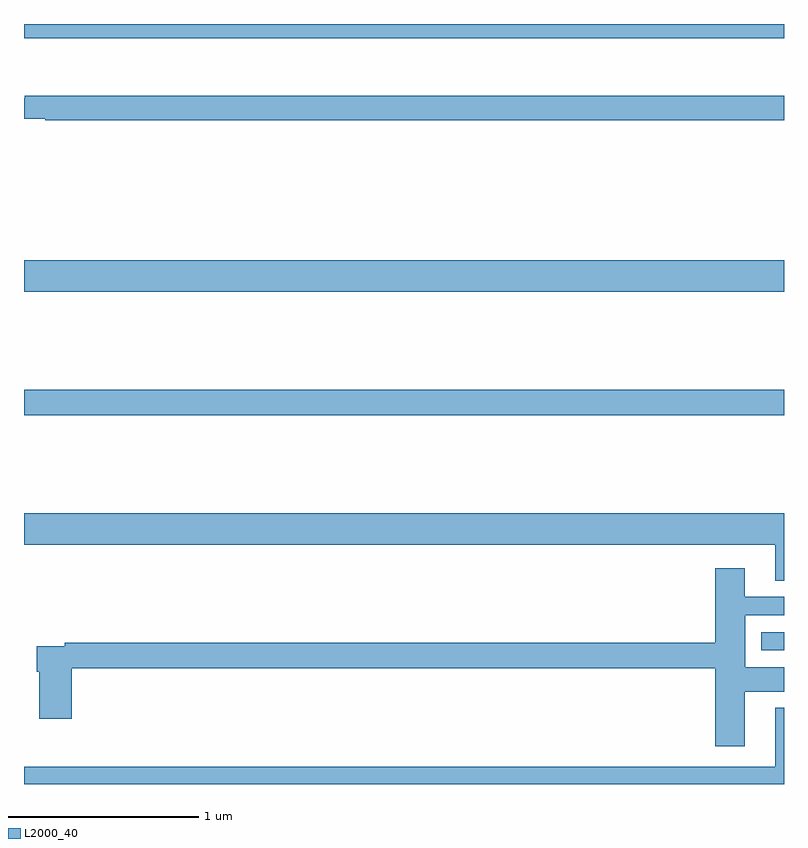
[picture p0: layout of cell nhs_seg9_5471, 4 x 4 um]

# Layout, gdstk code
import gdstk
lib = gdstk.Library(unit=1e-6, precision=1e-09)
def R(c, l, rs):  # rectangles x0, y0, x1, y1
    for r in rs: c.add(gdstk.rectangle(r[:2], r[2:], *l))
def P(c, l, *ps):  # polygons
    for p in ps: c.add(gdstk.Polygon(p, *l))
L2000_40 = (2000, 40)

nhs_seg9_5471 = lib.new_cell('nhs_seg9_5471')
R(nhs_seg9_5471, L2000_40, [(432.881,1189.203,433,1189.299), (429,1190.44,433,1190.576), (429,1191.092,433,1191.256), (429,1192.424,433,1192.5)])
P(nhs_seg9_5471, L2000_40, [(433,1192.123),(429.004,1192.123),(429.004,1192.11),(429,1192.11),(429,1192.002),(429.112,1192.002),(429.112,1191.994),(433,1191.994)],
  [(433,1189.924),(429,1189.924),(429,1189.76),(432.953,1189.76),(432.953,1189.57),(433,1189.57)],
  [(432.793,1188.986),(433,1188.986),(433,1189.114),(432.796,1189.114),(432.796,1189.389),(433,1189.389),(433,1189.485),(432.793,1189.485),(432.793,1189.636),(432.638,1189.636),(432.638,1189.244),(429.214,1189.244),(429.214,1189.224),(429.068,1189.224),(429.068,1189.091),(429.08,1189.091),(429.08,1188.843),(429.251,1188.843),(429.251,1189.108),(432.638,1189.108),(432.638,1188.699),(432.793,1188.699)],
  [(433,1188.901),(432.953,1188.901),(432.953,1188.592),(429,1188.592),(429,1188.5),(433,1188.5)])

lib.write_gds('nhs_seg9_5471.gds')
